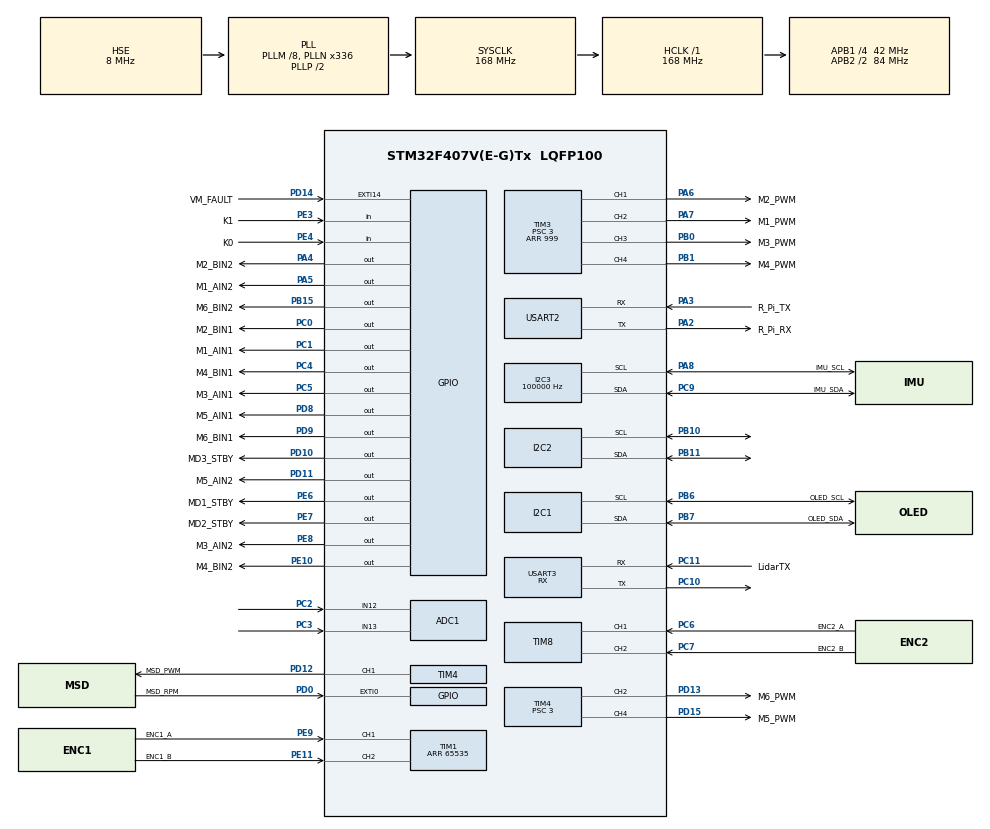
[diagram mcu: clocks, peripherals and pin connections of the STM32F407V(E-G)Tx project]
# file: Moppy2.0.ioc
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ADC1.Channel-0\#ChannelRegularConversion=ADC_CHANNEL_12
ADC1.NbrOfConversionFlag=1
ADC1.Rank-0\#ChannelRegularConversion=1
ADC1.SamplingTime-0\#ChannelRegularConversion=ADC_SAMPLETIME_3CYCLES
ADC1.master=1
Dma.I2C1_TX.0.Direction=DMA_MEMORY_TO_PERIPH
Dma.I2C1_TX.0.FIFOMode=DMA_FIFOMODE_DISABLE
Dma.I2C1_TX.0.Instance=DMA1_Stream7
Dma.I2C1_TX.0.MemDataAlignment=DMA_MDATAALIGN_BYTE
Dma.I2C1_TX.0.MemInc=DMA_MINC_ENABLE
Dma.I2C1_TX.0.Mode=DMA_NORMAL
Dma.I2C1_TX.0.PeriphDataAlignment=DMA_PDATAALIGN_BYTE
Dma.I2C1_TX.0.PeriphInc=DMA_PINC_DISABLE
Dma.I2C1_TX.0.Priority=DMA_PRIORITY_LOW
Dma.I2C3_RX.2.Direction=DMA_PERIPH_TO_MEMORY
Dma.I2C3_RX.2.FIFOMode=DMA_FIFOMODE_DISABLE
Dma.I2C3_RX.2.Instance=DMA1_Stream2
Dma.I2C3_RX.2.MemDataAlignment=DMA_MDATAALIGN_BYTE
Dma.I2C3_RX.2.MemInc=DMA_MINC_ENABLE
Dma.I2C3_RX.2.Mode=DMA_NORMAL
Dma.I2C3_RX.2.PeriphDataAlignment=DMA_PDATAALIGN_BYTE
Dma.I2C3_RX.2.PeriphInc=DMA_PINC_DISABLE
Dma.I2C3_RX.2.Priority=DMA_PRIORITY_MEDIUM
Dma.I2C3_TX.3.Direction=DMA_MEMORY_TO_PERIPH
Dma.I2C3_TX.3.FIFOMode=DMA_FIFOMODE_DISABLE
Dma.I2C3_TX.3.Instance=DMA1_Stream4
Dma.I2C3_TX.3.MemDataAlignment=DMA_MDATAALIGN_BYTE
Dma.I2C3_TX.3.MemInc=DMA_MINC_ENABLE
Dma.I2C3_TX.3.Mode=DMA_NORMAL
Dma.I2C3_TX.3.PeriphDataAlignment=DMA_PDATAALIGN_BYTE
Dma.I2C3_TX.3.PeriphInc=DMA_PINC_DISABLE
Dma.I2C3_TX.3.Priority=DMA_PRIORITY_MEDIUM
Dma.Request0=I2C1_TX
Dma.Request1=USART3_RX
Dma.Request2=I2C3_RX
Dma.Request3=I2C3_TX
Dma.Request4=USART2_TX
Dma.Request5=USART2_RX
Dma.USART2_RX.5.Direction=DMA_PERIPH_TO_MEMORY
Dma.USART2_RX.5.FIFOMode=DMA_FIFOMODE_DISABLE
Dma.USART2_RX.5.Instance=DMA1_Stream5
Dma.USART2_RX.5.MemDataAlignment=DMA_MDATAALIGN_BYTE
Dma.USART2_RX.5.MemInc=DMA_MINC_ENABLE
Dma.USART2_RX.5.Mode=DMA_CIRCULAR
Dma.USART2_RX.5.PeriphDataAlignment=DMA_PDATAALIGN_BYTE
Dma.USART2_RX.5.PeriphInc=DMA_PINC_DISABLE
Dma.USART2_RX.5.Priority=DMA_PRIORITY_LOW
Dma.USART2_TX.4.Direction=DMA_MEMORY_TO_PERIPH
Dma.USART2_TX.4.FIFOMode=DMA_FIFOMODE_DISABLE
Dma.USART2_TX.4.Instance=DMA1_Stream6
Dma.USART2_TX.4.MemDataAlignment=DMA_MDATAALIGN_BYTE
Dma.USART2_TX.4.MemInc=DMA_MINC_ENABLE
Dma.USART2_TX.4.Mode=DMA_NORMAL
Dma.USART2_TX.4.PeriphDataAlignment=DMA_PDATAALIGN_BYTE
Dma.USART2_TX.4.PeriphInc=DMA_PINC_DISABLE
Dma.USART2_TX.4.Priority=DMA_PRIORITY_MEDIUM
Dma.USART3_RX.1.Direction=DMA_PERIPH_TO_MEMORY
Dma.USART3_RX.1.FIFOMode=DMA_FIFOMODE_DISABLE
Dma.USART3_RX.1.Instance=DMA1_Stream1
Dma.USART3_RX.1.MemDataAlignment=DMA_MDATAALIGN_BYTE
Dma.USART3_RX.1.MemInc=DMA_MINC_ENABLE
Dma.USART3_RX.1.Mode=DMA_CIRCULAR
Dma.USART3_RX.1.PeriphDataAlignment=DMA_PDATAALIGN_BYTE
Dma.USART3_RX.1.PeriphInc=DMA_PINC_DISABLE
Dma.USART3_RX.1.Priority=DMA_PRIORITY_VERY_HIGH
FREERTOS.Tasks01=ImuTask,24,256,StartImuTask,Default,NULL,Dynamic,NULL,NULL;WheelTask,40,256,StartWheelTask,Default,NULL,Dynamic,NULL,NULL;GeneralTask,11,512,StartGeneralTask,Default,NULL,Dynamic,NULL,NULL;TelemetryTask,8,384,StartTelemetryTask,Default,NULL,Dynamic,NULL,NULL
FREERTOS.configUSE_NEWLIB_REENTRANT=1
I2C1.I2C_Mode=I2C_Fast
I2C3.ClockSpeed=100000
I2C3.I2C_Mode=I2C_Fast
IWDG.Prescaler=IWDG_PRESCALER_64
Mcu.Family=STM32F4
Mcu.Name=STM32F407V(E-G)Tx
Mcu.Package=LQFP100
NVIC.DMA1_Stream1_IRQn=true\:5\:0\:false\:false\:true\:true\:false\:true\:true
NVIC.DMA1_Stream2_IRQn=true\:5\:0\:false\:false\:true\:true\:false\:true\:true
NVIC.DMA1_Stream4_IRQn=true\:5\:0\:false\:false\:true\:true\:false\:true\:true
NVIC.DMA1_Stream5_IRQn=true\:5\:0\:false\:false\:true\:true\:false\:true\:true
NVIC.DMA1_Stream6_IRQn=true\:5\:0\:false\:false\:true\:true\:false\:true\:true
NVIC.DMA1_Stream7_IRQn=true\:5\:0\:false\:false\:true\:false\:false\:true\:true
NVIC.EXTI0_IRQn=true\:5\:0\:false\:false\:true\:true\:true\:true\:true
NVIC.EXTI15_10_IRQn=true\:5\:0\:false\:false\:true\:true\:true\:true\:true
NVIC.I2C1_ER_IRQn=true\:5\:0\:false\:false\:true\:true\:true\:true\:true
NVIC.I2C1_EV_IRQn=true\:5\:0\:false\:false\:true\:true\:true\:true\:true
NVIC.I2C3_ER_IRQn=true\:5\:0\:false\:false\:true\:true\:true\:true\:true
NVIC.I2C3_EV_IRQn=true\:5\:0\:false\:false\:true\:true\:true\:true\:true
NVIC.PriorityGroup=NVIC_PRIORITYGROUP_4
NVIC.TIM1_UP_TIM10_IRQn=true\:5\:0\:false\:false\:true\:true\:true\:true\:true
NVIC.TIM6_DAC_IRQn=true\:15\:0\:false\:false\:true\:false\:false\:true\:true
NVIC.TIM8_UP_TIM13_IRQn=true\:5\:0\:false\:false\:true\:true\:true\:true\:true
NVIC.TimeBase=TIM6_DAC_IRQn
NVIC.TimeBaseIP=TIM6
NVIC.USART2_IRQn=true\:5\:0\:false\:false\:true\:true\:true\:true\:true
NVIC.USART3_IRQn=true\:5\:0\:false\:false\:true\:true\:true\:true\:true
PA13.Mode=Serial_Wire
PA13.Signal=SYS_JTMS-SWDIO
PA14.Mode=Serial_Wire
PA14.Signal=SYS_JTCK-SWCLK
PA2.GPIO_Label=R_Pi_RX
PA2.Mode=Asynchronous
PA2.Signal=USART2_TX
PA3.GPIO_Label=R_Pi_TX
PA3.Mode=Asynchronous
PA3.Signal=USART2_RX
PA4.GPIO_Label=M2_BIN2
PA4.Signal=GPIO_Output
PA5.GPIO_Label=M1_AIN2
PA5.Signal=GPIO_Output
PA6.GPIO_Label=M2_PWM
PA6.Signal=S_TIM3_CH1
PA7.GPIO_Label=M1_PWM
PA7.Signal=S_TIM3_CH2
PA8.GPIO_Label=IMU_SCL
PA8.GPIO_Pu=GPIO_PULLUP
PA8.Mode=I2C
PA8.Signal=I2C3_SCL
PB0.GPIO_Label=M3_PWM
PB0.Signal=S_TIM3_CH3
PB1.GPIO_Label=M4_PWM
PB1.Signal=S_TIM3_CH4
PB10.Mode=I2C
PB10.Signal=I2C2_SCL
PB11.Mode=I2C
PB11.Signal=I2C2_SDA
PB15.GPIO_Label=M6_BIN2
PB15.Signal=GPIO_Output
PB6.GPIO_Label=OLED_SCL
PB6.GPIO_Pu=GPIO_PULLUP
PB6.Mode=I2C
PB6.Signal=I2C1_SCL
PB7.GPIO_Label=OLED_SDA
PB7.GPIO_Pu=GPIO_PULLUP
PB7.Mode=I2C
PB7.Signal=I2C1_SDA
PC0.GPIO_Label=M2_BIN1
PC0.Signal=GPIO_Output
PC1.GPIO_Label=M1_AIN1
PC1.Signal=GPIO_Output
PC10.Mode=Asynchronous
PC10.Signal=USART3_TX
PC11.GPIO_Label=LidarTX
PC11.GPIO_PuPd=GPIO_PULLUP
PC11.Mode=Asynchronous
PC11.Signal=USART3_RX
PC2.Signal=ADCx_IN12
PC3.Signal=ADCx_IN13
PC4.GPIO_Label=M4_BIN1
PC4.Signal=GPIO_Output
PC5.GPIO_Label=M3_AIN1
PC5.Signal=GPIO_Output
PC6.GPIO_Label=ENC2_A
PC6.GPIO_PuPd=GPIO_PULLUP
PC6.Signal=S_TIM8_CH1
PC7.GPIO_Label=ENC2_B
PC7.GPIO_PuPd=GPIO_PULLUP
PC7.Signal=S_TIM8_CH2
PC9.GPIO_Label=IMU_SDA
PC9.GPIO_Pu=GPIO_PULLUP
PC9.Mode=I2C
PC9.Signal=I2C3_SDA
PD0.GPIO_Label=MSD_RPM
PD0.GPIO_PuPd=GPIO_PULLUP
PD0.Signal=GPXTI0
PD10.GPIO_Label=MD3_STBY
PD10.Signal=GPIO_Output
PD11.GPIO_Label=M5_AIN2
PD11.Signal=GPIO_Output
PD12.GPIO_Label=MSD_PWM
PD12.Signal=S_TIM4_CH1
PD13.GPIO_Label=M6_PWM
PD13.Signal=S_TIM4_CH2
PD14.GPIO_Label=VM_FAULT
PD14.GPIO_ModeDefaultEXTI=GPIO_MODE_IT_RISING
PD14.GPIO_PuPd=GPIO_PULLUP
PD14.Signal=GPXTI14
PD15.GPIO_Label=M5_PWM
PD15.Signal=S_TIM4_CH4
PD8.GPIO_Label=M5_AIN1
PD8.Signal=GPIO_Output
PD9.GPIO_Label=M6_BIN1
PD9.Signal=GPIO_Output
PE10.GPIO_Label=M4_BIN2
PE10.Signal=GPIO_Output
PE11.GPIO_Label=ENC1_B
PE11.GPIO_PuPd=GPIO_PULLUP
PE11.Signal=S_TIM1_CH2
PE3.GPIO_Label=K1
PE3.GPIO_PuPd=GPIO_PULLUP
PE3.Signal=GPIO_Input
PE4.GPIO_Label=K0
PE4.GPIO_PuPd=GPIO_PULLUP
PE4.Signal=GPIO_Input
PE6.GPIO_Label=MD1_STBY
PE6.Signal=GPIO_Output
PE7.GPIO_Label=MD2_STBY
PE7.Signal=GPIO_Output
PE8.GPIO_Label=M3_AIN2
PE8.Signal=GPIO_Output
PE9.GPIO_Label=ENC1_A
PE9.GPIO_PuPd=GPIO_PULLUP
PE9.Signal=S_TIM1_CH1
PH0-OSC_IN.Mode=HSE-External-Oscillator
PH0-OSC_IN.Signal=RCC_OSC_IN
PH1-OSC_OUT.Mode=HSE-External-Oscillator
PH1-OSC_OUT.Signal=RCC_OSC_OUT
ProjectManager.HeapSize=0x200
ProjectManager.StackSize=0x400
ProjectManager.TargetToolchain=STM32CubeIDE
RCC.48MHZClocksFreq_Value=84000000
RCC.AHBFreq_Value=168000000
RCC.APB1CLKDivider=RCC_HCLK_DIV4
RCC.APB1Freq_Value=42000000
RCC.APB1TimFreq_Value=84000000
RCC.APB2CLKDivider=RCC_HCLK_DIV2
RCC.APB2Freq_Value=84000000
RCC.APB2TimFreq_Value=168000000
RCC.CortexFreq_Value=168000000
RCC.HCLKFreq_Value=168000000
RCC.HSE_VALUE=8000000
RCC.HSI_VALUE=16000000
RCC.LSE_VALUE=32768
RCC.PLLM=8
RCC.PLLN=336
RCC.PLLSourceVirtual=RCC_PLLSOURCE_HSE
RCC.SYSCLKFreq_VALUE=168000000
RCC.SYSCLKSource=RCC_SYSCLKSOURCE_PLLCLK
RCC.VCOOutputFreq_Value=336000000
SH.ADCx_IN12.0=ADC1_IN12,IN12
SH.ADCx_IN13.0=ADC1_IN13,IN13
SH.S_TIM1_CH1.0=TIM1_CH1,Encoder_Interface
SH.S_TIM1_CH2.0=TIM1_CH2,Encoder_Interface
SH.S_TIM3_CH1.0=TIM3_CH1,PWM Generation1 CH1
SH.S_TIM3_CH2.0=TIM3_CH2,PWM Generation2 CH2
SH.S_TIM3_CH3.0=TIM3_CH3,PWM Generation3 CH3
SH.S_TIM3_CH4.0=TIM3_CH4,PWM Generation4 CH4
SH.S_TIM4_CH1.0=TIM4_CH1,PWM Generation1 CH1
SH.S_TIM4_CH2.0=TIM4_CH2,PWM Generation2 CH2
SH.S_TIM4_CH4.0=TIM4_CH4,PWM Generation4 CH4
SH.S_TIM8_CH1.0=TIM8_CH1,Encoder_Interface
SH.S_TIM8_CH2.0=TIM8_CH2,Encoder_Interface
TIM1.AutoReloadPreload=TIM_AUTORELOAD_PRELOAD_ENABLE
TIM1.EncoderMode=TIM_ENCODERMODE_TI12
TIM1.IC2Filter=0
TIM1.Period=65535
TIM3.AutoReloadPreload=TIM_AUTORELOAD_PRELOAD_ENABLE
TIM3.Channel-PWM\ Generation1\ CH1=TIM_CHANNEL_1
TIM3.Channel-PWM\ Generation2\ CH2=TIM_CHANNEL_2
TIM3.Channel-PWM\ Generation3\ CH3=TIM_CHANNEL_3
TIM3.Channel-PWM\ Generation4\ CH4=TIM_CHANNEL_4
TIM3.Period=999
TIM3.Prescaler=3
TIM4.AutoReloadPreload=TIM_AUTORELOAD_PRELOAD_ENABLE
TIM4.Channel-PWM\ Generation1\ CH1=TIM_CHANNEL_1
TIM4.Channel-PWM\ Generation2\ CH2=TIM_CHANNEL_2
TIM4.Channel-PWM\ Generation4\ CH4=TIM_CHANNEL_4
TIM4.Period=999
TIM4.Prescaler=3
TIM8.AutoReloadPreload=TIM_AUTORELOAD_PRELOAD_ENABLE
TIM8.EncoderMode=TIM_ENCODERMODE_TI12
USART2.VirtualMode=VM_ASYNC
USART3.Mode=MODE_RX
USART3.VirtualMode=VM_ASYNC
VP_FREERTOS_VS_CMSIS_V2.Mode=CMSIS_V2
VP_IWDG_VS_IWDG.Mode=IWDG_Activate
VP_SYS_VS_tim6.Mode=TIM6
VP_TIM3_VS_ClockSourceINT.Mode=Internal
VP_TIM4_VS_ClockSourceINT.Mode=Internal
board=custom

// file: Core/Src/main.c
/* USER CODE BEGIN Header */
/**
  ******************************************************************************
  * @file           : main.c
  * @brief          : Main program body
  ******************************************************************************
  * @attention
  *
  * Copyright (c) 2026 STMicroelectronics.
  * All rights reserved.
  *
  * This software is licensed under terms that can be found in the LICENSE file
  * in the root directory of this software component.
  * If no LICENSE file comes with this software, it is provided AS-IS.
  *
  ******************************************************************************
  */
/* USER CODE END Header */
#include "main.h"
#include "cmsis_os.h"

/* USER CODE BEGIN Includes */
#include "general.h"
#include "telemetry.h"
/* USER CODE END Includes */

ADC_HandleTypeDef hadc1;

I2C_HandleTypeDef hi2c1;
I2C_HandleTypeDef hi2c2;
I2C_HandleTypeDef hi2c3;
DMA_HandleTypeDef hdma_i2c1_tx;
DMA_HandleTypeDef hdma_i2c3_rx;
DMA_HandleTypeDef hdma_i2c3_tx;

IWDG_HandleTypeDef hiwdg;

TIM_HandleTypeDef htim1;
TIM_HandleTypeDef htim3;
TIM_HandleTypeDef htim4;
TIM_HandleTypeDef htim8;

UART_HandleTypeDef huart2;
UART_HandleTypeDef huart3;
DMA_HandleTypeDef hdma_usart2_tx;
DMA_HandleTypeDef hdma_usart2_rx;
DMA_HandleTypeDef hdma_usart3_rx;

/* Definitions for ImuTask */
osThreadId_t ImuTaskHandle;
const osThreadAttr_t ImuTask_attributes = {
  .name = "ImuTask",
  .stack_size = 256 * 4,
  .priority = (osPriority_t) osPriorityNormal,
};
/* Definitions for WheelTask */
osThreadId_t WheelTaskHandle;
const osThreadAttr_t WheelTask_attributes = {
  .name = "WheelTask",
  .stack_size = 256 * 4,
  .priority = (osPriority_t) osPriorityHigh,
};
/* Definitions for GeneralTask */
osThreadId_t GeneralTaskHandle;
const osThreadAttr_t GeneralTask_attributes = {
  .name = "GeneralTask",
  .stack_size = 512 * 4,
  .priority = (osPriority_t) osPriorityLow3,
};
/* Definitions for TelemetryTask */
osThreadId_t TelemetryTaskHandle;
const osThreadAttr_t TelemetryTask_attributes = {
  .name = "TelemetryTask",
  .stack_size = 384 * 4,
  .priority = (osPriority_t) osPriorityLow,
};
/* USER CODE BEGIN PV */

#if DEBUG_BOOT_STAGES
volatile uint32_t debug_boot_stage = 0;
#endif

#if DEBUG_GENERAL_RUN_COUNT
volatile uint32_t debug_general_run_count = 0;
#endif

volatile uint32_t debug_chassis_dt_ms = 0U;
volatile uint32_t debug_chassis_dt_max_ms = 0U;
volatile uint32_t debug_chassis_late_count = 0U;
volatile uint8_t vm_fault_latched = 0U; // VM EMERGENCY CUTOFF STATE
/* USER CODE END PV */

void SystemClock_Config(void);
static void MX_GPIO_Init(void);
static void MX_DMA_Init(void);
static void MX_TIM1_Init(void);
static void MX_IWDG_Init(void);
static void MX_TIM3_Init(void);
static void MX_TIM4_Init(void);
static void MX_TIM8_Init(void);
static void MX_I2C2_Init(void);
static void MX_I2C1_Init(void);
static void MX_ADC1_Init(void);
static void MX_I2C3_Init(void);
static void MX_USART2_UART_Init(void);
static void MX_USART3_UART_Init(void);
void StartImuTask(void *argument);
void StartWheelTask(void *argument);
void StartGeneralTask(void *argument);
void StartTelemetryTask(void *argument);

int main(void)
{

  /* MCU Configuration--------------------------------------------------------*/

  /* Reset of all peripherals, Initializes the Flash interface and the Systick. */
  HAL_Init();

  /* Configure the system clock */
  SystemClock_Config();

  /* Initialize all configured peripherals */
  MX_GPIO_Init();
  MX_DMA_Init();
  MX_TIM1_Init();
  MX_IWDG_Init();
  MX_TIM3_Init();
  MX_TIM4_Init();
  MX_TIM8_Init();
  MX_I2C2_Init();
  MX_I2C1_Init();
  MX_ADC1_Init();
  MX_I2C3_Init();
  MX_USART2_UART_Init();
  MX_USART3_UART_Init();
  /* USER CODE BEGIN 2 */
  DEBUG_BOOT_STAGE(1);
  HAL_Init();

  DEBUG_BOOT_STAGE(2);
  SystemClock_Config();

  DEBUG_BOOT_STAGE(3);
  MX_GPIO_Init();

  DEBUG_BOOT_STAGE(4);
  MX_DMA_Init();

  MX_GPIO_Init();

/* ------------------------------------------------------------
 * INITIAL VM POWER SAFETY CHECK
 *
 * HIGH = VM unavailable / emergency cutoff active.
 * LOW  = VM available.
 *
 * Check before initializing the motor subsystems.
 * ------------------------------------------------------------ */
if (HAL_GPIO_ReadPin(VM_FAULT_GPIO_Port, VM_FAULT_Pin)
        == GPIO_PIN_SET)
{
    vm_fault_latched = 1U;

    HAL_GPIO_WritePin(MD1_STBY_GPIO_Port,
                      MD1_STBY_Pin, GPIO_PIN_RESET);

    HAL_GPIO_WritePin(MD2_STBY_GPIO_Port,
                      MD2_STBY_Pin, GPIO_PIN_RESET);

    HAL_GPIO_WritePin(MD3_STBY_GPIO_Port,
                      MD3_STBY_Pin, GPIO_PIN_RESET);
}

MX_DMA_Init();

  DEBUG_BOOT_STAGE(5);
  MX_TIM1_Init();

  DEBUG_BOOT_STAGE(6);
  MX_IWDG_Init();

  DEBUG_BOOT_STAGE(7);
  MX_TIM3_Init();

  DEBUG_BOOT_STAGE(8);
  MX_TIM4_Init();

  DEBUG_BOOT_STAGE(9);
  MX_TIM8_Init();

  DEBUG_BOOT_STAGE(10);
  MX_I2C2_Init();

  DEBUG_BOOT_STAGE(11);
  MX_I2C1_Init();

  DEBUG_BOOT_STAGE(12);
  MX_ADC1_Init();

  DEBUG_BOOT_STAGE(13);
  MX_I2C3_Init();

  DEBUG_BOOT_STAGE(14);
  MX_USART2_UART_Init();

  DEBUG_BOOT_STAGE(15);
  MX_USART3_UART_Init();

  DEBUG_BOOT_STAGE(20);
  General_Init();

  DEBUG_BOOT_STAGE(21);
  Telemetry_Init();
  //MainWheels_Init();
  /* USER CODE END 2 */

  /* Init scheduler */
  osKernelInitialize();

  /* Create the thread(s) */
  /* creation of ImuTask */
  ImuTaskHandle = osThreadNew(StartImuTask, NULL, &ImuTask_attributes);

  /* creation of WheelTask */
  WheelTaskHandle = osThreadNew(StartWheelTask, NULL, &WheelTask_attributes);

  /* creation of GeneralTask */
  GeneralTaskHandle = osThreadNew(StartGeneralTask, NULL, &GeneralTask_attributes);

  /* creation of TelemetryTask */
  TelemetryTaskHandle = osThreadNew(StartTelemetryTask, NULL, &TelemetryTask_attributes);

  /* Start scheduler */
  osKernelStart();

  /* We should never get here as control is now taken by the scheduler */

  /* Infinite loop */
  /* USER CODE BEGIN WHILE */
  while (1)
  {
	  /*
	    DEBUG_GENERAL_RUN_COUNT_INC();
	    DEBUG_BOOT_STAGE(22);
	    General_Run();
	    DEBUG_BOOT_STAGE(23);
	    */
    /* USER CODE END WHILE */

  }
}

void SystemClock_Config(void)
{
  RCC_OscInitTypeDef RCC_OscInitStruct = {0};
  RCC_ClkInitTypeDef RCC_ClkInitStruct = {0};

  /** Configure the main internal regulator output voltage
  */
  __HAL_RCC_PWR_CLK_ENABLE();
  __HAL_PWR_VOLTAGESCALING_CONFIG(PWR_REGULATOR_VOLTAGE_SCALE1);

  /** Initializes the RCC Oscillators according to the specified parameters
  * in the RCC_OscInitTypeDef structure.
  */
  RCC_OscInitStruct.OscillatorType = RCC_OSCILLATORTYPE_LSI|RCC_OSCILLATORTYPE_HSE;
  RCC_OscInitStruct.HSEState = RCC_HSE_ON;
  RCC_OscInitStruct.LSIState = RCC_LSI_ON;
  RCC_OscInitStruct.PLL.PLLState = RCC_PLL_ON;
  RCC_OscInitStruct.PLL.PLLSource = RCC_PLLSOURCE_HSE;
  RCC_OscInitStruct.PLL.PLLM = 8;
  RCC_OscInitStruct.PLL.PLLN = 336;
  RCC_OscInitStruct.PLL.PLLP = RCC_PLLP_DIV2;
  RCC_OscInitStruct.PLL.PLLQ = 4;
  if (HAL_RCC_OscConfig(&RCC_OscInitStruct) != HAL_OK)
  {
    Error_Handler();
  }

  /** Initializes the CPU, AHB and APB buses clocks
  */
  RCC_ClkInitStruct.ClockType = RCC_CLOCKTYPE_HCLK|RCC_CLOCKTYPE_SYSCLK
                              |RCC_CLOCKTYPE_PCLK1|RCC_CLOCKTYPE_PCLK2;
  RCC_ClkInitStruct.SYSCLKSource = RCC_SYSCLKSOURCE_PLLCLK;
  RCC_ClkInitStruct.AHBCLKDivider = RCC_SYSCLK_DIV1;
  RCC_ClkInitStruct.APB1CLKDivider = RCC_HCLK_DIV4;
  RCC_ClkInitStruct.APB2CLKDivider = RCC_HCLK_DIV2;

  if (HAL_RCC_ClockConfig(&RCC_ClkInitStruct, FLASH_LATENCY_5) != HAL_OK)
  {
    Error_Handler();
  }
}

static void MX_ADC1_Init(void)
{

  ADC_ChannelConfTypeDef sConfig = {0};

  /** Configure the global features of the ADC (Clock, Resolution, Data Alignment and number of conversion)
  */
  hadc1.Instance = ADC1;
  hadc1.Init.ClockPrescaler = ADC_CLOCK_SYNC_PCLK_DIV4;
  hadc1.Init.Resolution = ADC_RESOLUTION_12B;
  hadc1.Init.ScanConvMode = DISABLE;
  hadc1.Init.ContinuousConvMode = DISABLE;
  hadc1.Init.DiscontinuousConvMode = DISABLE;
  hadc1.Init.ExternalTrigConvEdge = ADC_EXTERNALTRIGCONVEDGE_NONE;
  hadc1.Init.ExternalTrigConv = ADC_SOFTWARE_START;
  hadc1.Init.DataAlign = ADC_DATAALIGN_RIGHT;
  hadc1.Init.NbrOfConversion = 1;
  hadc1.Init.DMAContinuousRequests = DISABLE;
  hadc1.Init.EOCSelection = ADC_EOC_SINGLE_CONV;
  if (HAL_ADC_Init(&hadc1) != HAL_OK)
  {
    Error_Handler();
  }

  /** Configure for the selected ADC regular channel its corresponding rank in the sequencer and its sample time.
  */
  sConfig.Channel = ADC_CHANNEL_12;
  sConfig.Rank = 1;
  sConfig.SamplingTime = ADC_SAMPLETIME_3CYCLES;
  if (HAL_ADC_ConfigChannel(&hadc1, &sConfig) != HAL_OK)
  {
    Error_Handler();
  }

}

static void MX_I2C1_Init(void)
{

  hi2c1.Instance = I2C1;
  hi2c1.Init.ClockSpeed = 400000;
  hi2c1.Init.DutyCycle = I2C_DUTYCYCLE_2;
  hi2c1.Init.OwnAddress1 = 0;
  hi2c1.Init.AddressingMode = I2C_ADDRESSINGMODE_7BIT;
  hi2c1.Init.DualAddressMode = I2C_DUALADDRESS_DISABLE;
  hi2c1.Init.OwnAddress2 = 0;
  hi2c1.Init.GeneralCallMode = I2C_GENERALCALL_DISABLE;
  hi2c1.Init.NoStretchMode = I2C_NOSTRETCH_DISABLE;
  if (HAL_I2C_Init(&hi2c1) != HAL_OK)
  {
    Error_Handler();
  }

}

static void MX_I2C2_Init(void)
{

  hi2c2.Instance = I2C2;
  hi2c2.Init.ClockSpeed = 100000;
  hi2c2.Init.DutyCycle = I2C_DUTYCYCLE_2;
  hi2c2.Init.OwnAddress1 = 0;
  hi2c2.Init.AddressingMode = I2C_ADDRESSINGMODE_7BIT;
  hi2c2.Init.DualAddressMode = I2C_DUALADDRESS_DISABLE;
  hi2c2.Init.OwnAddress2 = 0;
  hi2c2.Init.GeneralCallMode = I2C_GENERALCALL_DISABLE;
  hi2c2.Init.NoStretchMode = I2C_NOSTRETCH_DISABLE;
  if (HAL_I2C_Init(&hi2c2) != HAL_OK)
  {
    Error_Handler();
  }

}

static void MX_I2C3_Init(void)
{

  hi2c3.Instance = I2C3;
  hi2c3.Init.ClockSpeed = 100000;
  hi2c3.Init.DutyCycle = I2C_DUTYCYCLE_2;
  hi2c3.Init.OwnAddress1 = 0;
  hi2c3.Init.AddressingMode = I2C_ADDRESSINGMODE_7BIT;
  hi2c3.Init.DualAddressMode = I2C_DUALADDRESS_DISABLE;
  hi2c3.Init.OwnAddress2 = 0;
  hi2c3.Init.GeneralCallMode = I2C_GENERALCALL_DISABLE;
  hi2c3.Init.NoStretchMode = I2C_NOSTRETCH_DISABLE;
  if (HAL_I2C_Init(&hi2c3) != HAL_OK)
  {
    Error_Handler();
  }

}

static void MX_IWDG_Init(void)
{

  hiwdg.Instance = IWDG;
  hiwdg.Init.Prescaler = IWDG_PRESCALER_64;
  hiwdg.Init.Reload = 4095;
  if (HAL_IWDG_Init(&hiwdg) != HAL_OK)
  {
    Error_Handler();
  }

}

static void MX_TIM1_Init(void)
{

  TIM_Encoder_InitTypeDef sConfig = {0};
  TIM_MasterConfigTypeDef sMasterConfig = {0};

  htim1.Instance = TIM1;
  htim1.Init.Prescaler = 0;
  htim1.Init.CounterMode = TIM_COUNTERMODE_UP;
  htim1.Init.Period = 65535;
  htim1.Init.ClockDivision = TIM_CLOCKDIVISION_DIV1;
  htim1.Init.RepetitionCounter = 0;
  htim1.Init.AutoReloadPreload = TIM_AUTORELOAD_PRELOAD_ENABLE;
  sConfig.EncoderMode = TIM_ENCODERMODE_TI12;
  sConfig.IC1Polarity = TIM_ICPOLARITY_RISING;
  sConfig.IC1Selection = TIM_ICSELECTION_DIRECTTI;
  sConfig.IC1Prescaler = TIM_ICPSC_DIV1;
  sConfig.IC1Filter = 0;
  sConfig.IC2Polarity = TIM_ICPOLARITY_RISING;
  sConfig.IC2Selection = TIM_ICSELECTION_DIRECTTI;
  sConfig.IC2Prescaler = TIM_ICPSC_DIV1;
  sConfig.IC2Filter = 0;
  if (HAL_TIM_Encoder_Init(&htim1, &sConfig) != HAL_OK)
  {
    Error_Handler();
  }
  sMasterConfig.MasterOutputTrigger = TIM_TRGO_RESET;
  sMasterConfig.MasterSlaveMode = TIM_MASTERSLAVEMODE_DISABLE;
  if (HAL_TIMEx_MasterConfigSynchronization(&htim1, &sMasterConfig) != HAL_OK)
  {
    Error_Handler();
  }

}

static void MX_TIM3_Init(void)
{

  TIM_ClockConfigTypeDef sClockSourceConfig = {0};
  TIM_MasterConfigTypeDef sMasterConfig = {0};
  TIM_OC_InitTypeDef sConfigOC = {0};

  htim3.Instance = TIM3;
  htim3.Init.Prescaler = 3;
  htim3.Init.CounterMode = TIM_COUNTERMODE_UP;
  htim3.Init.Period = 999;
  htim3.Init.ClockDivision = TIM_CLOCKDIVISION_DIV1;
  htim3.Init.AutoReloadPreload = TIM_AUTORELOAD_PRELOAD_ENABLE;
  if (HAL_TIM_Base_Init(&htim3) != HAL_OK)
  {
    Error_Handler();
  }
  sClockSourceConfig.ClockSource = TIM_CLOCKSOURCE_INTERNAL;
  if (HAL_TIM_ConfigClockSource(&htim3, &sClockSourceConfig) != HAL_OK)
  {
    Error_Handler();
  }
  if (HAL_TIM_PWM_Init(&htim3) != HAL_OK)
  {
    Error_Handler();
  }
  sMasterConfig.MasterOutputTrigger = TIM_TRGO_RESET;
  sMasterConfig.MasterSlaveMode = TIM_MASTERSLAVEMODE_DISABLE;
  if (HAL_TIMEx_MasterConfigSynchronization(&htim3, &sMasterConfig) != HAL_OK)
  {
    Error_Handler();
  }
  sConfigOC.OCMode = TIM_OCMODE_PWM1;
  sConfigOC.Pulse = 0;
  sConfigOC.OCPolarity = TIM_OCPOLARITY_HIGH;
  sConfigOC.OCFastMode = TIM_OCFAST_DISABLE;
  if (HAL_TIM_PWM_ConfigChannel(&htim3, &sConfigOC, TIM_CHANNEL_1) != HAL_OK)
  {
    Error_Handler();
  }
  if (HAL_TIM_PWM_ConfigChannel(&htim3, &sConfigOC, TIM_CHANNEL_2) != HAL_OK)
  {
    Error_Handler();
  }
  if (HAL_TIM_PWM_ConfigChannel(&htim3, &sConfigOC, TIM_CHANNEL_3) != HAL_OK)
  {
    Error_Handler();
  }
  if (HAL_TIM_PWM_ConfigChannel(&htim3, &sConfigOC, TIM_CHANNEL_4) != HAL_OK)
  {
    Error_Handler();
  }
  HAL_TIM_MspPostInit(&htim3);

}

static void MX_TIM4_Init(void)
{

  TIM_ClockConfigTypeDef sClockSourceConfig = {0};
  TIM_MasterConfigTypeDef sMasterConfig = {0};
  TIM_OC_InitTypeDef sConfigOC = {0};

  htim4.Instance = TIM4;
  htim4.Init.Prescaler = 3;
  htim4.Init.CounterMode = TIM_COUNTERMODE_UP;
  htim4.Init.Period = 999;
  htim4.Init.ClockDivision = TIM_CLOCKDIVISION_DIV1;
  htim4.Init.AutoReloadPreload = TIM_AUTORELOAD_PRELOAD_ENABLE;
  if (HAL_TIM_Base_Init(&htim4) != HAL_OK)
  {
    Error_Handler();
  }
  sClockSourceConfig.ClockSource = TIM_CLOCKSOURCE_INTERNAL;
  if (HAL_TIM_ConfigClockSource(&htim4, &sClockSourceConfig) != HAL_OK)
  {
    Error_Handler();
  }
  if (HAL_TIM_PWM_Init(&htim4) != HAL_OK)
  {
    Error_Handler();
  }
  sMasterConfig.MasterOutputTrigger = TIM_TRGO_RESET;
  sMasterConfig.MasterSlaveMode = TIM_MASTERSLAVEMODE_DISABLE;
  if (HAL_TIMEx_MasterConfigSynchronization(&htim4, &sMasterConfig) != HAL_OK)
  {
    Error_Handler();
  }
  sConfigOC.OCMode = TIM_OCMODE_PWM1;
  sConfigOC.Pulse = 0;
  sConfigOC.OCPolarity = TIM_OCPOLARITY_HIGH;
  sConfigOC.OCFastMode = TIM_OCFAST_DISABLE;
  if (HAL_TIM_PWM_ConfigChannel(&htim4, &sConfigOC, TIM_CHANNEL_1) != HAL_OK)
  {
    Error_Handler();
  }
  if (HAL_TIM_PWM_ConfigChannel(&htim4, &sConfigOC, TIM_CHANNEL_2) != HAL_OK)
  {
    Error_Handler();
  }
  if (HAL_TIM_PWM_ConfigChannel(&htim4, &sConfigOC, TIM_CHANNEL_4) != HAL_OK)
  {
    Error_Handler();
  }
  HAL_TIM_MspPostInit(&htim4);

}

static void MX_TIM8_Init(void)
{

  TIM_Encoder_InitTypeDef sConfig = {0};
  TIM_MasterConfigTypeDef sMasterConfig = {0};

  htim8.Instance = TIM8;
  htim8.Init.Prescaler = 0;
  htim8.Init.CounterMode = TIM_COUNTERMODE_UP;
  htim8.Init.Period = 65535;
  htim8.Init.ClockDivision = TIM_CLOCKDIVISION_DIV1;
  htim8.Init.RepetitionCounter = 0;
  htim8.Init.AutoReloadPreload = TIM_AUTORELOAD_PRELOAD_ENABLE;
  sConfig.EncoderMode = TIM_ENCODERMODE_TI12;
  sConfig.IC1Polarity = TIM_ICPOLARITY_RISING;
  sConfig.IC1Selection = TIM_ICSELECTION_DIRECTTI;
  sConfig.IC1Prescaler = TIM_ICPSC_DIV1;
  sConfig.IC1Filter = 0;
  sConfig.IC2Polarity = TIM_ICPOLARITY_RISING;
  sConfig.IC2Selection = TIM_ICSELECTION_DIRECTTI;
  sConfig.IC2Prescaler = TIM_ICPSC_DIV1;
  sConfig.IC2Filter = 0;
  if (HAL_TIM_Encoder_Init(&htim8, &sConfig) != HAL_OK)
  {
    Error_Handler();
  }
  sMasterConfig.MasterOutputTrigger = TIM_TRGO_RESET;
  sMasterConfig.MasterSlaveMode = TIM_MASTERSLAVEMODE_DISABLE;
  if (HAL_TIMEx_MasterConfigSynchronization(&htim8, &sMasterConfig) != HAL_OK)
  {
    Error_Handler();
  }

}

static void MX_USART2_UART_Init(void)
{

  huart2.Instance = USART2;
  huart2.Init.BaudRate = 115200;
  huart2.Init.WordLength = UART_WORDLENGTH_8B;
  huart2.Init.StopBits = UART_STOPBITS_1;
  huart2.Init.Parity = UART_PARITY_NONE;
  huart2.Init.Mode = UART_MODE_TX_RX;
  huart2.Init.HwFlowCtl = UART_HWCONTROL_NONE;
  huart2.Init.OverSampling = UART_OVERSAMPLING_16;
  if (HAL_UART_Init(&huart2) != HAL_OK)
  {
    Error_Handler();
  }

}

static void MX_USART3_UART_Init(void)
{

  huart3.Instance = USART3;
  huart3.Init.BaudRate = 115200;
  huart3.Init.WordLength = UART_WORDLENGTH_8B;
  huart3.Init.StopBits = UART_STOPBITS_1;
  huart3.Init.Parity = UART_PARITY_NONE;
  huart3.Init.Mode = UART_MODE_RX;
  huart3.Init.HwFlowCtl = UART_HWCONTROL_NONE;
  huart3.Init.OverSampling = UART_OVERSAMPLING_16;
  if (HAL_UART_Init(&huart3) != HAL_OK)
  {
    Error_Handler();
  }

}

static void MX_DMA_Init(void)
{

  /* DMA controller clock enable */
  __HAL_RCC_DMA1_CLK_ENABLE();

  /* DMA interrupt init */
  /* DMA1_Stream1_IRQn interrupt configuration */
  HAL_NVIC_SetPriority(DMA1_Stream1_IRQn, 5, 0);
  HAL_NVIC_EnableIRQ(DMA1_Stream1_IRQn);
  /* DMA1_Stream2_IRQn interrupt configuration */
  HAL_NVIC_SetPriority(DMA1_Stream2_IRQn, 5, 0);
  HAL_NVIC_EnableIRQ(DMA1_Stream2_IRQn);
  /* DMA1_Stream4_IRQn interrupt configuration */
  HAL_NVIC_SetPriority(DMA1_Stream4_IRQn, 5, 0);
  HAL_NVIC_EnableIRQ(DMA1_Stream4_IRQn);
  /* DMA1_Stream5_IRQn interrupt configuration */
  HAL_NVIC_SetPriority(DMA1_Stream5_IRQn, 5, 0);
  HAL_NVIC_EnableIRQ(DMA1_Stream5_IRQn);
  /* DMA1_Stream6_IRQn interrupt configuration */
  HAL_NVIC_SetPriority(DMA1_Stream6_IRQn, 5, 0);
  HAL_NVIC_EnableIRQ(DMA1_Stream6_IRQn);
  /* DMA1_Stream7_IRQn interrupt configuration */
  HAL_NVIC_SetPriority(DMA1_Stream7_IRQn, 5, 0);
  HAL_NVIC_EnableIRQ(DMA1_Stream7_IRQn);

}

static void MX_GPIO_Init(void)
{
  GPIO_InitTypeDef GPIO_InitStruct = {0};

  /* GPIO Ports Clock Enable */
  __HAL_RCC_GPIOE_CLK_ENABLE();
  __HAL_RCC_GPIOH_CLK_ENABLE();
  __HAL_RCC_GPIOC_CLK_ENABLE();
  __HAL_RCC_GPIOA_CLK_ENABLE();
  __HAL_RCC_GPIOB_CLK_ENABLE();
  __HAL_RCC_GPIOD_CLK_ENABLE();

  /*Configure GPIO pin Output Level */
  HAL_GPIO_WritePin(GPIOE, MD1_STBY_Pin|MD2_STBY_Pin|M3_AIN2_Pin|M4_BIN2_Pin, GPIO_PIN_RESET);

  /*Configure GPIO pin Output Level */
  HAL_GPIO_WritePin(GPIOC, M2_BIN1_Pin|M1_AIN1_Pin|M4_BIN1_Pin|M3_AIN1_Pin, GPIO_PIN_RESET);

  /*Configure GPIO pin Output Level */
  HAL_GPIO_WritePin(GPIOA, M2_BIN2_Pin|M1_AIN2_Pin, GPIO_PIN_RESET);

  /*Configure GPIO pin Output Level */
  HAL_GPIO_WritePin(M6_BIN2_GPIO_Port, M6_BIN2_Pin, GPIO_PIN_RESET);

  /*Configure GPIO pin Output Level */
  HAL_GPIO_WritePin(GPIOD, M5_AIN1_Pin|M6_BIN1_Pin|MD3_STBY_Pin|M5_AIN2_Pin, GPIO_PIN_RESET);

  /*Configure GPIO pins : K1_Pin K0_Pin */
  GPIO_InitStruct.Pin = K1_Pin|K0_Pin;
  GPIO_InitStruct.Mode = GPIO_MODE_INPUT;
  GPIO_InitStruct.Pull = GPIO_PULLUP;
  HAL_GPIO_Init(GPIOE, &GPIO_InitStruct);

  /*Configure GPIO pins : MD1_STBY_Pin MD2_STBY_Pin M3_AIN2_Pin M4_BIN2_Pin */
  GPIO_InitStruct.Pin = MD1_STBY_Pin|MD2_STBY_Pin|M3_AIN2_Pin|M4_BIN2_Pin;
  GPIO_InitStruct.Mode = GPIO_MODE_OUTPUT_PP;
  GPIO_InitStruct.Pull = GPIO_NOPULL;
  GPIO_InitStruct.Speed = GPIO_SPEED_FREQ_LOW;
  HAL_GPIO_Init(GPIOE, &GPIO_InitStruct);

  /*Configure GPIO pins : M2_BIN1_Pin M1_AIN1_Pin M4_BIN1_Pin M3_AIN1_Pin */
  GPIO_InitStruct.Pin = M2_BIN1_Pin|M1_AIN1_Pin|M4_BIN1_Pin|M3_AIN1_Pin;
  GPIO_InitStruct.Mode = GPIO_MODE_OUTPUT_PP;
  GPIO_InitStruct.Pull = GPIO_NOPULL;
  GPIO_InitStruct.Speed = GPIO_SPEED_FREQ_LOW;
  HAL_GPIO_Init(GPIOC, &GPIO_InitStruct);

  /*Configure GPIO pins : M2_BIN2_Pin M1_AIN2_Pin */
  GPIO_InitStruct.Pin = M2_BIN2_Pin|M1_AIN2_Pin;
  GPIO_InitStruct.Mode = GPIO_MODE_OUTPUT_PP;
  GPIO_InitStruct.Pull = GPIO_NOPULL;
  GPIO_InitStruct.Speed = GPIO_SPEED_FREQ_LOW;
  HAL_GPIO_Init(GPIOA, &GPIO_InitStruct);

  /*Configure GPIO pin : M6_BIN2_Pin */
  GPIO_InitStruct.Pin = M6_BIN2_Pin;
  GPIO_InitStruct.Mode = GPIO_MODE_OUTPUT_PP;
  GPIO_InitStruct.Pull = GPIO_NOPULL;
  GPIO_InitStruct.Speed = GPIO_SPEED_FREQ_LOW;
  HAL_GPIO_Init(M6_BIN2_GPIO_Port, &GPIO_InitStruct);

  /*Configure GPIO pins : M5_AIN1_Pin M6_BIN1_Pin MD3_STBY_Pin M5_AIN2_Pin */
  GPIO_InitStruct.Pin = M5_AIN1_Pin|M6_BIN1_Pin|MD3_STBY_Pin|M5_AIN2_Pin;
  GPIO_InitStruct.Mode = GPIO_MODE_OUTPUT_PP;
  GPIO_InitStruct.Pull = GPIO_NOPULL;
  GPIO_InitStruct.Speed = GPIO_SPEED_FREQ_LOW;
  HAL_GPIO_Init(GPIOD, &GPIO_InitStruct);

  /*Configure GPIO pins : VM_FAULT_Pin MSD_RPM_Pin */
  GPIO_InitStruct.Pin = VM_FAULT_Pin|MSD_RPM_Pin;
  GPIO_InitStruct.Mode = GPIO_MODE_IT_RISING;
  GPIO_InitStruct.Pull = GPIO_PULLUP;
  HAL_GPIO_Init(GPIOD, &GPIO_InitStruct);

  /* EXTI interrupt init*/
  HAL_NVIC_SetPriority(EXTI0_IRQn, 5, 0);
  HAL_NVIC_EnableIRQ(EXTI0_IRQn);

  HAL_NVIC_SetPriority(EXTI15_10_IRQn, 5, 0);
  HAL_NVIC_EnableIRQ(EXTI15_10_IRQn);

}

/* USER CODE BEGIN 4 */
// EMERGENCY VM CUTOFF INTERRUPT CALLBACK
void HAL_GPIO_EXTI_Callback(uint16_t GPIO_Pin)
{
    if (GPIO_Pin == VM_FAULT_Pin)
    {
        // Permanently latch the fault until deliberate re-arm.
        vm_fault_latched = 1U;

        /*
         * Immediately disable all three motor-driver groups.
         *
         * Only quick GPIO operations are performed here.
         * No delays, motor-control routines or RTOS calls.
         */
        HAL_GPIO_WritePin(
            MD1_STBY_GPIO_Port,
            MD1_STBY_Pin,
            GPIO_PIN_RESET
        );

        HAL_GPIO_WritePin(
            MD2_STBY_GPIO_Port,
            MD2_STBY_Pin,
            GPIO_PIN_RESET
        );

        HAL_GPIO_WritePin(
            MD3_STBY_GPIO_Port,
            MD3_STBY_Pin,
            GPIO_PIN_RESET
        );
    }
}
/* USER CODE END 4 */

void StartImuTask(void *argument)
{
  /* USER CODE BEGIN 5 */
  /* Infinite loop */
    (void)argument;

    for (;;)
    {
        IMU_Process();
        osDelay(1);
    }
  /* USER CODE END 5 */
}

void StartWheelTask(void *argument)
{
  /* USER CODE BEGIN StartWheelTask */
  /* Infinite loop */
    (void)argument;

    uint32_t next_wake = osKernelGetTickCount();
    uint32_t previous_update = next_wake;

    for (;;)
    {
    	uint32_t now = osKernelGetTickCount();
		uint32_t dt = now - previous_update;
		uint8_t vm_fault_stop_applied = 0U;

		debug_chassis_dt_ms = dt;

		if (dt > debug_chassis_dt_max_ms)
		{
			debug_chassis_dt_max_ms = dt;
		}

		if (dt > 25U)
		{
			debug_chassis_late_count++;
		}

		previous_update = now;

		// ------------------------------------------------------------
		// VM FAULT SAFETY GATE
		// ------------------------------------------------------------
		if (vm_fault_latched != 0U)
		{
		    if (vm_fault_stop_applied == 0U)
		    {
		        /*
		         * Cancel any active turn and reset the wheel PID
		         * targets, integrators and PWM outputs.
		         */
		        Chassis_CancelMotion();

		        vm_fault_stop_applied = 1U;
		    }

		    // Keep the main-wheel driver disabled.
		    HAL_GPIO_WritePin(
		        MD1_STBY_GPIO_Port,
		        MD1_STBY_Pin,
		        GPIO_PIN_RESET
		    );
		}
		else
		{
		    vm_fault_stop_applied = 0U;

		    // Normal motion control.
		    Chassis_MotionUpdate();
		    Chassis_Update();
		}

        next_wake += 20U;
        (void)osDelayUntil(next_wake);
    }
  /* USER CODE END StartWheelTask */
}

void StartGeneralTask(void *argument)
{
  /* USER CODE BEGIN StartGeneralTask */
  /* Infinite loop */
    (void)argument;

    for (;;)
    {
        General_Run();
        osDelay(1);
    }
  /* USER CODE END StartGeneralTask */
}

void StartTelemetryTask(void *argument)
{
  /* USER CODE BEGIN StartTelemetryTask */
  /* Infinite loop */
    (void)argument;

    uint32_t next_wake = osKernelGetTickCount();

    for (;;)
    {
        Telemetry_TaskStep();

        next_wake += 20U;  /* 50 Hz */
        (void)osDelayUntil(next_wake);
    }
  /* USER CODE END StartTelemetryTask */
}

void HAL_TIM_PeriodElapsedCallback(TIM_HandleTypeDef *htim)
{
  if (htim->Instance == TIM6)
  {
    HAL_IncTick();
  }
}

void Error_Handler(void)
{
  __disable_irq();
  while (1)
  {
  }
}
